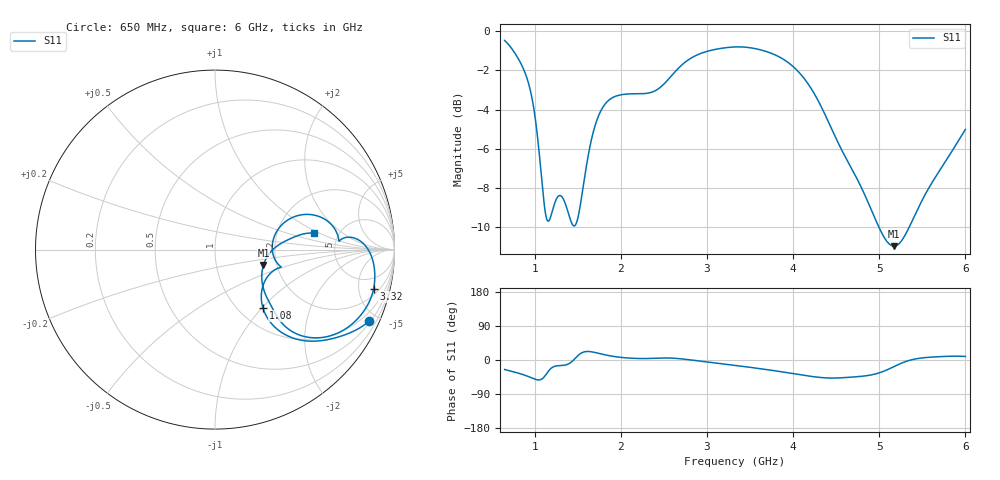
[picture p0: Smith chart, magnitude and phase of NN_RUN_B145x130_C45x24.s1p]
! IGNION VIRTUAL ANTENNA LIBRARY
! NN_RUN_B145x130_C45x24
! Virtual Antenna™ RUN mXTEND™: NN02-224 12.0 mm x 3.0 mm x 2.4 mm
! https://ignion.io/product/run-mxtend/
! Board: 145 mm x 130 mm
! Clearance Area: 45 mm x 24 mm
! Feeding line: L-shape; 24mm x 2mm and 5mm x 2mm
! Applications: Smart meter, Routers/Repeaters
! Frequency range 0.65GHz to 6GHz, step 10MHz
! Number of ports 1
! This product and its use is protected by at least one or more of the following patents and patent
! applications US 8,203,492 B2; US 8,237,615 B2; PCT/EP2013/064692; WO 2014/012842 A1; US 2019/190122 A1;
! US 62/072,671; and other domestic and international patents pending. Additional information about
! patents related to this product is available at https://ignion.io/files/Patent-list-NN.pdf, all
! rights reserved. Copyright, Ignion 2021.
! Need more help? Your platform is much different than these examples in the manual? Use our
! Fast Track service (https://ignion.io/fast-track/), for free, and get a personalized antenna design in
! just 24 hours.
! Touchstone port 1 = "Series Port"
! IE3D S-Parameters Output Version 2.0
# GHZ S MA R 50
! Nport = 1
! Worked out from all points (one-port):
!   536 points, 650 MHz to 6 GHz, reference 50 ohm
!   lowest |S11| = -11.0 dB at 5.17 GHz (marker M1), VSWR 1.79, Z = 85.2 - j15.8 ohm
!   |S11| at or under -10 dB: 4.997 GHz to 5.346 GHz (348.5 MHz wide, 6.74 % of centre)
!   S11 on the Smith chart (normalised r, x): 650 MHz: 0.58, -4.43; 1.08 GHz: 1.28, -1.01; 3.32 GHz: 2.78, -7.12; 6 GHz: 3.30, +0.88
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0.65  0.9458 -25.0
0.82  0.8414 -35.4
0.94  0.7189 -45.0
1.01  0.5901 -51.3
1.08  0.42 -50.6
1.13  0.3381 -38.5
1.18  0.3342 -23.8
1.32  0.3773 -14.4
1.4  0.3382 -9.3
1.48  0.323 6.7
1.57  0.4119 21.2
1.64  0.507 22.2
1.8  0.6441 14.5
1.99  0.687 7.2
2.4  0.7047 4.6
2.66  0.8005 3.9
2.95  0.8801 -3.7
3.32  0.9104 -13.9
3.33  0.9106 -14.2
3.68  0.8876 -24.9
4  0.8115 -35.9
4.28  0.6712 -45.3
4.46  0.5553 -47.7
4.67  0.4502 -45.3
4.96  0.3297 -36.6
5.17  0.2833 -17.5
5.34  0.3143 -1.6
6  0.5615 9.3
